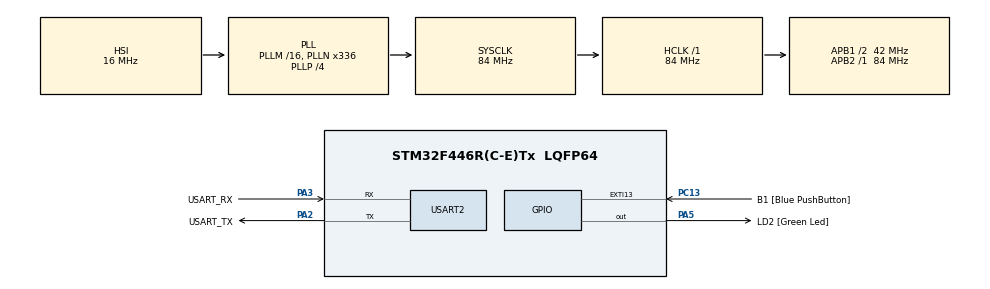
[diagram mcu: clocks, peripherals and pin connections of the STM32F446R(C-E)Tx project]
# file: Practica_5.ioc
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Mcu.Family=STM32F4
Mcu.Name=STM32F446R(C-E)Tx
Mcu.Package=LQFP64
NVIC.PriorityGroup=NVIC_PRIORITYGROUP_0
NVIC.USART2_IRQn=true\:0\:0\:false\:false\:true\:true\:true\:true
PA13.GPIO_Label=TMS
PA13.Mode=Trace_Asynchronous_SW
PA13.Signal=SYS_JTMS-SWDIO
PA14.GPIO_Label=TCK
PA14.Mode=Trace_Asynchronous_SW
PA14.Signal=SYS_JTCK-SWCLK
PA2.GPIO_Label=USART_TX
PA2.Mode=Asynchronous
PA2.Signal=USART2_TX
PA3.GPIO_Label=USART_RX
PA3.Mode=Asynchronous
PA3.Signal=USART2_RX
PA5.GPIO_Label=LD2 [Green Led]
PA5.Signal=GPIO_Output
PB3.GPIO_Label=SWO
PB3.Mode=Trace_Asynchronous_SW
PB3.Signal=SYS_JTDO-SWO
PC13.GPIO_Label=B1 [Blue PushButton]
PC13.GPIO_ModeDefaultEXTI=GPIO_MODE_IT_FALLING
PC13.Signal=GPXTI13
PC14-OSC32_IN.Mode=LSE-External-Oscillator
PC14-OSC32_IN.Signal=RCC_OSC32_IN
PC15-OSC32_OUT.Mode=LSE-External-Oscillator
PC15-OSC32_OUT.Signal=RCC_OSC32_OUT
PH0-OSC_IN.Mode=HSE-External-Oscillator
PH0-OSC_IN.Signal=RCC_OSC_IN
PH1-OSC_OUT.Mode=HSE-External-Oscillator
PH1-OSC_OUT.Signal=RCC_OSC_OUT
ProjectManager.HeapSize=0x200
ProjectManager.StackSize=0x400
ProjectManager.TargetToolchain=STM32CubeIDE
RCC.48MHZClocksFreq_Value=84000000
RCC.AHBFreq_Value=84000000
RCC.APB1CLKDivider=RCC_HCLK_DIV2
RCC.APB1Freq_Value=42000000
RCC.APB1TimFreq_Value=84000000
RCC.APB2Freq_Value=84000000
RCC.APB2TimFreq_Value=84000000
RCC.CortexFreq_Value=84000000
RCC.FLatency-AdvancedSettings=FLASH_LATENCY_2
RCC.HCLKFreq_Value=84000000
RCC.HSE_VALUE=8000000
RCC.HSI_VALUE=16000000
RCC.PLLN=336
RCC.PLLP=RCC_PLLP_DIV4
RCC.SYSCLKFreq_VALUE=84000000
RCC.SYSCLKSource=RCC_SYSCLKSOURCE_PLLCLK
RCC.USBFreq_Value=168000000
RCC.VCOOutputFreq_Value=336000000
USART2.VirtualMode=VM_ASYNC
board=NUCLEO-F446RE

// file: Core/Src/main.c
/* USER CODE BEGIN Header */
/**
  ******************************************************************************
  * @file           : main.c
  * @brief          : Main program body
  ******************************************************************************
  * @attention
  *
  * Copyright (c) 2025 STMicroelectronics.
  * All rights reserved.
  *
  * This software is licensed under terms that can be found in the LICENSE file
  * in the root directory of this software component.
  * If no LICENSE file comes with this software, it is provided AS-IS.
  *
  ******************************************************************************
  */
/* USER CODE END Header */
#include "main.h"

/* USER CODE BEGIN Includes */
#include "API_uart.h"			/* Manejo de la comunicación serie 		*/
#include "API_debounce.h"		/* Manejo de lecturas de pulsadores		*/
#include "API_delay.h"			/* Manejo de retardos no bloqueantes	*/
/* USER CODE END Includes */

UART_HandleTypeDef huart2;

/* USER CODE BEGIN PV */
UART_Port_t uartPort;		/* Instancia para manejo de la comunicación serie */
debounce_t  blueBtn;		/* Instancia para manejo del botón 				  */
uint8_t rxData[1];			/* Buffer de recepción de 'c'					  */

/* USER CODE END PV */

void SystemClock_Config(void);
static void MX_GPIO_Init(void);
static void MX_USART2_UART_Init(void);

int main(void)
{

  /* MCU Configuration--------------------------------------------------------*/

  /* Reset of all peripherals, Initializes the Flash interface and the Systick. */
  HAL_Init();

  /* Configure the system clock */
  SystemClock_Config();

  /* Initialize all configured peripherals */
  MX_GPIO_Init();
  MX_USART2_UART_Init();
  /* USER CODE BEGIN 2 */

  uartInit(&uartPort, &huart2);							/* Inicialización de UART */
  debounceFSM_init(&blueBtn, B1_GPIO_Port, B1_Pin); 	/* Inicialización de botón*/

  /* USER CODE END 2 */

  /* Infinite loop */
  /* USER CODE BEGIN WHILE */
  while (1)
  {
	debounceFSM_update(&blueBtn);
	if(readKeyPressed(&blueBtn))
	{
		uartSendString(&uartPort, (uint8_t *) "Flanco ascendente detectado\r\n");
	}

	if(readKeyReleased(&blueBtn))
	{
		uartSendString(&uartPort, (uint8_t *) "Flanco descendente detectado\r\n");
	}

	if(uartReceiveStringSize(&uartPort, rxData, 1))
	{
		if(rxData[0] == 'c')
		{
			terminalClearScreen(&uartPort);
		}
	}

    /* USER CODE END WHILE */

  }
}

void SystemClock_Config(void)
{
  RCC_OscInitTypeDef RCC_OscInitStruct = {0};
  RCC_ClkInitTypeDef RCC_ClkInitStruct = {0};

  /** Configure the main internal regulator output voltage
  */
  __HAL_RCC_PWR_CLK_ENABLE();
  __HAL_PWR_VOLTAGESCALING_CONFIG(PWR_REGULATOR_VOLTAGE_SCALE3);

  /** Initializes the RCC Oscillators according to the specified parameters
  * in the RCC_OscInitTypeDef structure.
  */
  RCC_OscInitStruct.OscillatorType = RCC_OSCILLATORTYPE_HSI;
  RCC_OscInitStruct.HSIState = RCC_HSI_ON;
  RCC_OscInitStruct.HSICalibrationValue = RCC_HSICALIBRATION_DEFAULT;
  RCC_OscInitStruct.PLL.PLLState = RCC_PLL_ON;
  RCC_OscInitStruct.PLL.PLLSource = RCC_PLLSOURCE_HSI;
  RCC_OscInitStruct.PLL.PLLM = 16;
  RCC_OscInitStruct.PLL.PLLN = 336;
  RCC_OscInitStruct.PLL.PLLP = RCC_PLLP_DIV4;
  RCC_OscInitStruct.PLL.PLLQ = 2;
  RCC_OscInitStruct.PLL.PLLR = 2;
  if (HAL_RCC_OscConfig(&RCC_OscInitStruct) != HAL_OK)
  {
    Error_Handler();
  }

  /** Initializes the CPU, AHB and APB buses clocks
  */
  RCC_ClkInitStruct.ClockType = RCC_CLOCKTYPE_HCLK|RCC_CLOCKTYPE_SYSCLK
                              |RCC_CLOCKTYPE_PCLK1|RCC_CLOCKTYPE_PCLK2;
  RCC_ClkInitStruct.SYSCLKSource = RCC_SYSCLKSOURCE_PLLCLK;
  RCC_ClkInitStruct.AHBCLKDivider = RCC_SYSCLK_DIV1;
  RCC_ClkInitStruct.APB1CLKDivider = RCC_HCLK_DIV2;
  RCC_ClkInitStruct.APB2CLKDivider = RCC_HCLK_DIV1;

  if (HAL_RCC_ClockConfig(&RCC_ClkInitStruct, FLASH_LATENCY_2) != HAL_OK)
  {
    Error_Handler();
  }
}

static void MX_USART2_UART_Init(void)
{

  huart2.Instance = USART2;
  huart2.Init.BaudRate = 115200;
  huart2.Init.WordLength = UART_WORDLENGTH_8B;
  huart2.Init.StopBits = UART_STOPBITS_1;
  huart2.Init.Parity = UART_PARITY_NONE;
  huart2.Init.Mode = UART_MODE_TX_RX;
  huart2.Init.HwFlowCtl = UART_HWCONTROL_NONE;
  huart2.Init.OverSampling = UART_OVERSAMPLING_16;
  if (HAL_UART_Init(&huart2) != HAL_OK)
  {
    Error_Handler();
  }

}

static void MX_GPIO_Init(void)
{
  GPIO_InitTypeDef GPIO_InitStruct = {0};

  /* GPIO Ports Clock Enable */
  __HAL_RCC_GPIOC_CLK_ENABLE();
  __HAL_RCC_GPIOH_CLK_ENABLE();
  __HAL_RCC_GPIOA_CLK_ENABLE();
  __HAL_RCC_GPIOB_CLK_ENABLE();

  /*Configure GPIO pin Output Level */
  HAL_GPIO_WritePin(LD2_GPIO_Port, LD2_Pin, GPIO_PIN_RESET);

  /*Configure GPIO pin : B1_Pin */
  GPIO_InitStruct.Pin = B1_Pin;
  GPIO_InitStruct.Mode = GPIO_MODE_IT_FALLING;
  GPIO_InitStruct.Pull = GPIO_NOPULL;
  HAL_GPIO_Init(B1_GPIO_Port, &GPIO_InitStruct);

  /*Configure GPIO pin : LD2_Pin */
  GPIO_InitStruct.Pin = LD2_Pin;
  GPIO_InitStruct.Mode = GPIO_MODE_OUTPUT_PP;
  GPIO_InitStruct.Pull = GPIO_NOPULL;
  GPIO_InitStruct.Speed = GPIO_SPEED_FREQ_LOW;
  HAL_GPIO_Init(LD2_GPIO_Port, &GPIO_InitStruct);

}

/* USER CODE BEGIN 4 */

void HAL_UARTEx_RxEventCallback(UART_HandleTypeDef *huart, uint16_t Size)
{

}

/* USER CODE END 4 */

void Error_Handler(void)
{
  __disable_irq();
  while (1)
  {
  }
}
